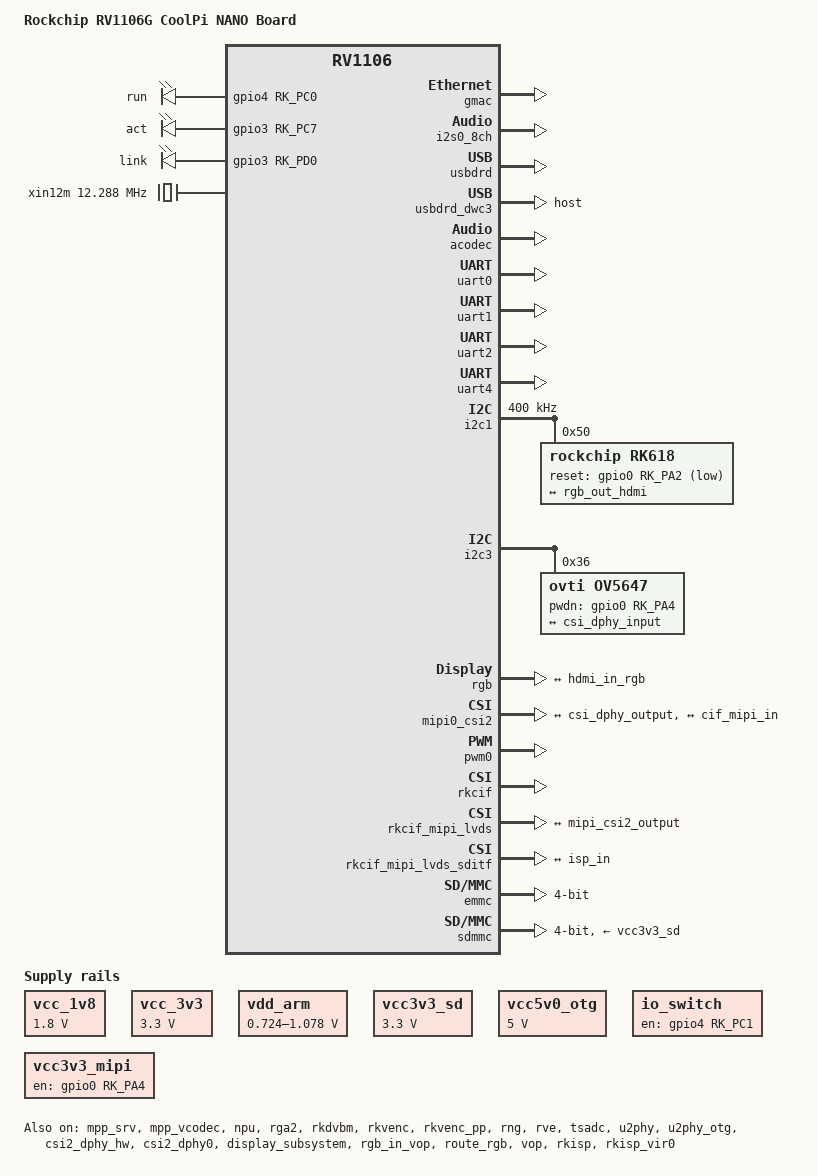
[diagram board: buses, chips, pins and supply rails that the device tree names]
// SPDX-License-Identifier: (GPL-2.0+ OR MIT)
/*
 * Copyright (c) 2022 Rockchip Electronics Co., Ltd.
 */

/dts-v1/;

#include "rv1106.dtsi"
#include "rv1106-amp.dtsi"
#include <dt-bindings/input/input.h>
#include <dt-bindings/clock/rk618-cru.h>
#include <dt-bindings/display/media-bus-format.h>

/ {
	model = "Rockchip RV1106G CoolPi NANO Board";
	compatible = "rockchip,rv1106";

	aliases {
		serial0 = &uart2;
		serial1 = &uart1;
		serial2 = &uart0;
		serial3 = &uart3;
		serial4 = &uart4;
		serial5 = &uart5;
	};
	
	adc-keys {
		compatible = "adc-keys";
		io-channels = <&saradc 0>;
		io-channel-names = "buttons";
		poll-interval = <100>;
		keyup-threshold-microvolt = <1800000>;
		status = "disabled";

		key_volumeup-key {
			label = "key_volumeup";
			linux,code = <KEY_VOLUMEUP>;
			press-threshold-microvolt = <0>;
		};

		key_volumedown-key {
			label = "key_volumedown";
			linux,code = <KEY_VOLUMEDOWN>;
			press-threshold-microvolt = <400781>;
		};
	};

	restart-poweroff {
		compatible = "restart-poweroff";
	};
	
	acodec_sound: acodec-sound {
		compatible = "simple-audio-card";
		simple-audio-card,name = "rv-acodec";
		simple-audio-card,format = "i2s";
		simple-audio-card,mclk-fs = <256>;
		simple-audio-card,cpu {
			sound-dai = <&i2s0_8ch>;
		};
		simple-audio-card,codec {
			sound-dai = <&acodec>;
		};
	};

	vcc_1v8: vcc-1v8 {
		compatible = "regulator-fixed";
		regulator-name = "vcc_1v8";
		regulator-always-on;
		regulator-boot-on;
		regulator-min-microvolt = <1800000>;
		regulator-max-microvolt = <1800000>;
	};

	vcc_3v3: vcc-3v3 {
		compatible = "regulator-fixed";
		regulator-name = "vcc_3v3";
		regulator-always-on;
		regulator-boot-on;
		regulator-min-microvolt = <3300000>;
		regulator-max-microvolt = <3300000>;
	};

	vdd_arm: vdd-arm {
		compatible = "pwm-regulator";
		pwms = <&pwm0 0 5000 1>;
		regulator-name = "vdd_arm";
		regulator-min-microvolt = <724000>;
		regulator-max-microvolt = <1078000>;
		regulator-init-microvolt = <950000>;
		regulator-always-on;
		regulator-boot-on;
		regulator-settling-time-up-us = <250>;
	};

	vcc3v3_sd: vcc3v3-sd {
		compatible = "regulator-fixed";
		regulator-name = "vcc3v3_sd";
		regulator-always-on;
		regulator-boot-on;
		regulator-min-microvolt = <3300000>;
		regulator-max-microvolt = <3300000>;
	};

	vcc5v0_otg: vcc5v0-otg {
		compatible = "regulator-fixed";
		regulator-name = "vcc5v0_otg";
		regulator-boot-on;
		regulator-always-on;
		regulator-min-microvolt = <5000000>;
		regulator-max-microvolt = <5000000>;
	};

#if 1
	io_switch: io-switch {
		compatible = "regulator-fixed";
		regulator-name = "sig_switch";
		regulator-boot-on;
		regulator-always-on;
		enable-active-high;
		gpio = <&gpio4 RK_PC1 GPIO_ACTIVE_HIGH>;
		pinctrl-names = "default";
		pinctrl-0 = <&sig_switch>;
	};
#endif

#if 0
	hub_rst: hub-rst {
		compatible = "regulator-fixed";
		regulator-name = "hub_rst";
		regulator-boot-on;
		regulator-always-on;
		enable-active-high;
		gpio = <&gpio0 RK_PA2 GPIO_ACTIVE_HIGH>;
	};
#endif

#if 1
	vcc3v3_mipi: vcc3v3-mipi {
		compatible = "regulator-fixed";
		regulator-name = "vcc3v3_mipi";
		regulator-boot-on;
		regulator-always-on;
		enable-active-high;
		gpio = <&gpio0 RK_PA4 GPIO_ACTIVE_HIGH>;
	};
#endif

	leds {
		compatible = "gpio-leds";
		pinctrl-names = "default";
		pinctrl-0 = <&gpio_leds>;
		status = "okay";

		led1 {
			label = "run";
			gpios = <&gpio4 RK_PC0 GPIO_ACTIVE_HIGH>;
			linux,default-trigger = "heartbeat";
		};

		led2 {
			label = "act";
			gpios = <&gpio3 RK_PC7 GPIO_ACTIVE_HIGH>;
			linux,default-trigger = "netdev";
			default-state = "off";
		};

		led3 {
			label = "link";
			gpios = <&gpio3 RK_PD0 GPIO_ACTIVE_HIGH>;
			linux,default-trigger = "netdev";
			default-state = "off";
		};
	};

	xin12m: xin12m {
		compatible = "fixed-clock";
		#clock-cells = <0>;
		clock-frequency = <12288000>;
		clock-output-names = "xin12m";
	};

	reserved-memory {
		#address-cells = <1>;
		#size-cells = <1>;
		ranges;

		linux,cma {
			compatible = "shared-dma-pool";
			inactive;
			reusable;
			size = <0x1000000>;
			linux,cma-default;
		};

		drm_logo: drm-logo@00000000 {
			compatible = "rockchip,drm-logo";
			reg = <0x0 0x0>;
		};
	};
};

&fiq_debugger {
	rockchip,irq-mode-enable = <1>;
	status = "disabled";
};

&gmac {
	status = "okay";
};

&i2s0_8ch {
	status = "okay";
};

&mpp_srv {
	status = "okay";
};

&mpp_vcodec {
	status = "okay";
};

&npu {
	status = "okay";
};

&rga2 {
	status = "okay";
};

&rkdvbm {
	status = "okay";
};

&rkvenc {
	status = "okay";
};

&rkvenc_pp {
	status = "okay";
};

&rng {
	status = "okay";
};

&rve {
	status = "okay";
};

&tsadc {
	status = "okay";
};

&u2phy {
	status = "okay";
};

&u2phy_otg {
	vbus-supply = <&vcc5v0_otg>;
	status = "okay";
};

&usbdrd {
	status = "okay";
};

&usbdrd_dwc3 {
	dr_mode = "host";
	extcon = <&u2phy>;
	status = "okay";
};

&acodec {
	#sound-dai-cells = <0>;
	pa-ctl-gpios = <&gpio1 RK_PA1 GPIO_ACTIVE_HIGH>;
	status = "okay";
};

&cpu0 {
	cpu-supply = <&vdd_arm>;
};

&csi2_dphy_hw {
	status = "okay";
};

&csi2_dphy0 {
	status = "okay";

	ports {
		#address-cells = <1>;
		#size-cells = <0>;

		port@0 {
			reg = <0>;
			#address-cells = <1>;
			#size-cells = <0>;

			csi_dphy_input: endpoint@1 {
				reg = <1>;
				remote-endpoint = <&ov5647_out>;
				data-lanes = <1 2>;
			};
		};

		port@1 {
			reg = <1>;
			#address-cells = <1>;
			#size-cells = <0>;

			csi_dphy_output: endpoint@0 {
				reg = <0>;
				remote-endpoint = <&mipi_csi2_input>;
			};
		};
	};
};

&uart0 {
	pinctrl-names = "default";
	pinctrl-0 = <&uart0m0_xfer>;
	status = "okay";
};

&uart1 {
	pinctrl-names = "default";
	pinctrl-0 = <&uart1m0_xfer>;
	status = "okay";
};

&uart2 {
	pinctrl-names = "default";
	pinctrl-0 = <&uart2m1_xfer>;
	status = "okay";
};

&uart4 {
	pinctrl-names = "default";
	pinctrl-0 = <&uart4m0_xfer>;
	status = "okay";
};

&i2c1 {
	status = "okay";
	clock-frequency = <400000>;

	rk618@50 {
		compatible = "rockchip,rk618";
		reg = <0x50>;
		pinctrl-names = "default";
		pinctrl-0 = <&rk618_int>;
		clocks = <&xin12m>;
		clock-names = "clkin";
		reset-gpios = <&gpio0 RK_PA2 GPIO_ACTIVE_LOW>;
		status = "okay";

		clock: cru {
			compatible = "rockchip,rk618-cru";
			clocks = <&xin12m>;
			clock-names = "clkin";
			assigned-clocks = <&clock SCALER_PLLIN_CLK>,
					  <&clock VIF_PLLIN_CLK>,
					  <&clock SCALER_CLK>,
					  <&clock VIF0_PRE_CLK>,
					  <&clock CODEC_CLK>,
					  <&clock DITHER_CLK>;
			assigned-clock-parents = <&xin12m>,
						 <&clock LCDC0_CLK>,
						 <&clock SCALER_PLL_CLK>,
						 <&clock VIF_PLL_CLK>,
						 <&clock VIF0_CLK>;
			#clock-cells = <1>;
			status = "okay";
		};

		hdmi {
			compatible = "rockchip,rk618-hdmi";
			clocks = <&clock HDMI_CLK>;
			clock-names = "hdmi";
			assigned-clocks = <&clock HDMI_CLK>;
			assigned-clock-parents = <&clock VIF0_CLK>;
			interrupt-parent = <&gpio0>;
			interrupts = <3 IRQ_TYPE_LEVEL_HIGH>;
			status = "okay";

			ports {
				#address-cells = <1>;
				#size-cells = <0>;

				port@0 {
					reg = <0>;

					hdmi_in_rgb: endpoint {
						remote-endpoint = <&rgb_out_hdmi>;
					};
				};
			};
		};
	};
};

&i2c3 {
	pinctrl-names = "default";
	pinctrl-0 = <&i2c3m2_xfer>;
	status = "okay";

	ov5647: ov5647@36 {
		status = "okay";
		compatible = "ovti,ov5647";
		reg = <0x36>;
		clocks = <&cru MCLK_REF_MIPI0>;
		clock-names = "xvclk";
		pinctrl-names = "default";
		pinctrl-0 = <&mipi_refclk_out0>;
		pwdn-gpios = <&gpio0 RK_PA4 GPIO_ACTIVE_HIGH>;
		rockchip,camera-module-index = <1>;
		rockchip,camera-module-facing = "front";
		rockchip,camera-module-name = "THDS11073LarganCAM0";
		rockchip,camera-module-lens-name = "40122a1";

		port {
			ov5647_out: endpoint {
				remote-endpoint = <&csi_dphy_input>;
				data-lanes = <1 2>;
			};
		};
	};
};


&display_subsystem {
	logo-memory-region = <&drm_logo>;
	status = "okay";
};

&rgb {
	status = "okay";
	pinctrl-names = "default";
	pinctrl-0 = <&lcd_pins>;

	ports {
		port@1 {
			reg = <1>;
			#address-cells = <1>;
			#size-cells = <0>;

			rgb_out_hdmi: endpoint@0 {
				reg = <0>;
				remote-endpoint = <&hdmi_in_rgb>;
			};
		};
	};
};

&rgb_in_vop {
	status = "okay";
};

&route_rgb {
	status = "okay";
};

&vop {
	status = "okay";
};

&mipi0_csi2 {
	status = "okay";

	ports {
		#address-cells = <1>;
		#size-cells = <0>;

		port@0 {
			reg = <0>;
			#address-cells = <1>;
			#size-cells = <0>;

			mipi_csi2_input: endpoint@1 {
				reg = <1>;
				remote-endpoint = <&csi_dphy_output>;
			};
		};

		port@1 {
			reg = <1>;
			#address-cells = <1>;
			#size-cells = <0>;

			mipi_csi2_output: endpoint@0 {
				reg = <0>;
				remote-endpoint = <&cif_mipi_in>;
			};
		};
	};
};

&pwm0 {
	status = "okay";
};

&rkcif {
	status = "okay";
};

&rkcif_mipi_lvds {
	status = "okay";

	pinctrl-names = "default";
	pinctrl-0 = <&mipi_pins>;
	port {
		/* MIPI CSI-2 endpoint */
		cif_mipi_in: endpoint {
			remote-endpoint = <&mipi_csi2_output>;
		};
	};
};

&rkcif_mipi_lvds_sditf {
	status = "okay";

	port {
		/* MIPI CSI-2 endpoint */
		mipi_lvds_sditf: endpoint {
			remote-endpoint = <&isp_in>;
		};
	};
};

&rkisp {
	status = "okay";
};

&rkisp_vir0 {
	status = "okay";

	port@0 {
		isp_in: endpoint {
			remote-endpoint = <&mipi_lvds_sditf>;
		};
	};
};

&saradc {
	status = "disabled";
	vref-supply = <&vcc_1v8>;
};

&sfc {
	status = "disabled";

	flash@0 {
		compatible = "jedec,spi-nor";
		reg = <0>;
		spi-max-frequency = <80000000>;
		spi-rx-bus-width = <4>;
		spi-tx-bus-width = <1>;
	};
};

&emmc {
	bus-width = <4>;
	pinctrl-names = "default";
	pinctrl-0 = <&emmc_clk &emmc_cmd &emmc_bus4>;
	status = "okay";
};

&sdmmc {
	max-frequency = <50000000>;
	no-sdio;
	no-mmc;
	bus-width = <4>;
	cap-mmc-highspeed;
	cap-sd-highspeed;
	disable-wp;
	card-detect-delay = <800>;
	pinctrl-names = "default";
	pinctrl-0 = <&sdmmc0_clk &sdmmc0_cmd &sdmmc0_det &sdmmc0_bus4>;
	vmmc-supply = <&vcc3v3_sd>;
	status = "okay";
};

&pinctrl {
	signal-enable {
		sig_switch: sig-siwtch {
			rockchip,pins = <4 RK_PC1 RK_FUNC_GPIO &pcfg_pull_up>;
		};
	};

	led {
		gpio_leds: gpio-leds {
			rockchip,pins = <4 RK_PC0 RK_FUNC_GPIO &pcfg_pull_down>,
							<3 RK_PC7 RK_FUNC_GPIO &pcfg_pull_down>,
							<3 RK_PD0 RK_FUNC_GPIO &pcfg_pull_down>;
		};
	};

	rk618 {
		rk618_reset: rk618-reeset {
			rockchip,pins = <0 RK_PA2 RK_FUNC_GPIO &pcfg_output_high>;
		};

		rk618_int: rk618-int {
			rockchip,pins = <0 RK_PA3 RK_FUNC_GPIO &pcfg_pull_none>;
		};
	};
};
